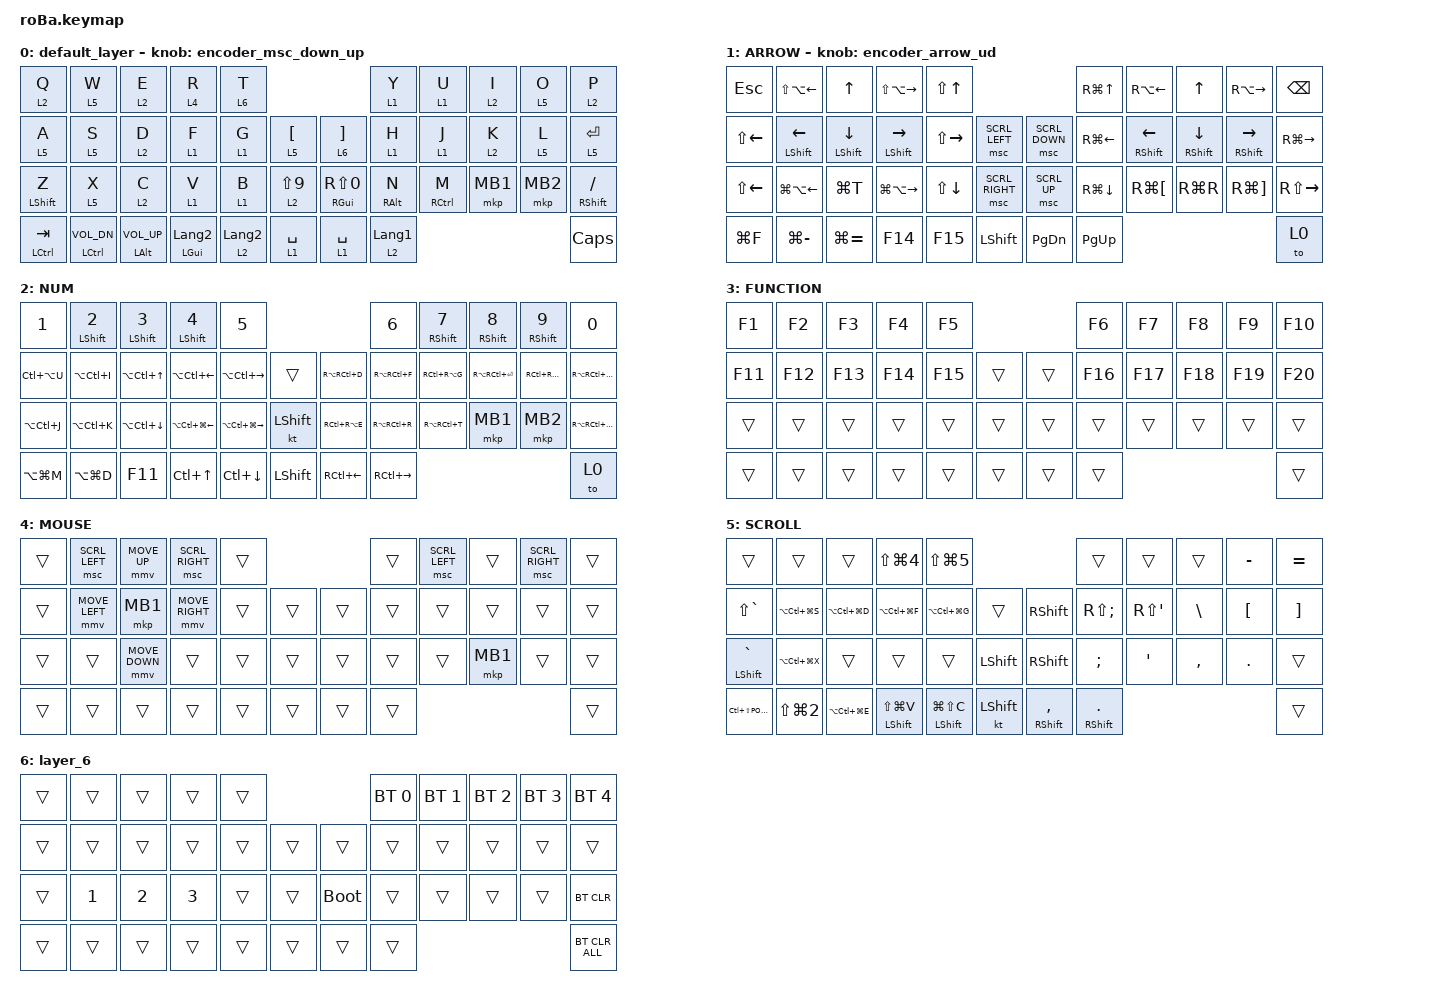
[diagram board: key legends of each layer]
#include <behaviors.dtsi>
#include <dt-bindings/zmk/bt.h>
#include <dt-bindings/zmk/keys.h>
#include <dt-bindings/zmk/pointing.h>

#undef  ZMK_POINTING_DEFAULT_SCRL_VAL

#define ZMK_POINTING_DEFAULT_SCRL_VAL 80
 
/ {
    behaviors {
        encoder_msc_down_up: encoder_msc_down_up {
            compatible = "zmk,behavior-sensor-rotate";
            #sensor-binding-cells = <0>;
            bindings = <&msc SCRL_DOWN>, <&msc SCRL_UP>;

            tap-ms = <30>;
        };

        encoder_arrow_ud: encoder_arrow_ud {
            compatible = "zmk,behavior-sensor-rotate";
            #sensor-binding-cells = <0>;
            bindings = <&kp UP_ARROW>, <&kp DOWN_ARROW>;

            tap-ms = <1>;
        };
    };

    combos {
        compatible = "zmk,combos";

        backspace {
            bindings = <&kp BACKSPACE>;
            key-positions = <9 8>;
        };

        esc {
            bindings = <&kp ESC>;
            key-positions = <0 1>;
        };

        tab {
            bindings = <&kp TAB>;
            key-positions = <10 11>;
        };
    };

    macros {
        to_layer_0: to_layer_0 {
            compatible = "zmk,behavior-macro-one-param";
            #binding-cells = <1>;
            bindings = <&to 1 &macro_param_1to1 &kp MACRO_PLACEHOLDER>;
            label = "TO_LAYER_0";
        };
    };

    keymap {
        compatible = "zmk,keymap";

        default_layer {
            bindings = <
&lt 2 Q           &lt 5 W             &lt 2 E                   &lt 4 R                  &lt 6 T                                                         &lt 1 Y           &lt 1 U      &lt 2 I   &lt 5 O   &lt 2 P
&lt 5 A           &lt 5 S             &lt 2 D                   &lt 1 F                  &lt 1 G           &lt 5 LEFT_BRACKET      &lt 6 RIGHT_BRACKET   &lt 1 H           &lt 1 J      &lt 2 K   &lt 5 L   &lt 5 ENTER
&mt LEFT_SHIFT Z  &lt 5 X             &lt 2 C                   &lt 1 V                  &lt 1 B           &lt 2 LS(N9)            &mt RIGHT_GUI RS(N0)  &mt RIGHT_ALT N   &mt RCTRL M  &mkp MB1  &mkp MB2  &mt RIGHT_SHIFT SLASH
&mt LCTRL TAB     &mt LCTRL C_VOL_DN  &mt LEFT_ALT C_VOLUME_UP  &mt LEFT_GUI LANGUAGE_2  &lt 2 LANGUAGE_2  &lt 1 SPACE             &lt 1 SPACE           &lt 2 LANGUAGE_1                                   &kp CAPSLOCK
            >;

            sensor-bindings = <&encoder_msc_down_up>;
        };

        ARROW {
            bindings = <
&kp ESCAPE          &kp LS(LA(LEFT_ARROW))     &kp UP_ARROW               &kp LS(LA(RIGHT_ARROW))     &kp LS(UP_ARROW)                                          &kp RG(UP_ARROW)    &kp RA(LEFT_ARROW)          &kp UP_ARROW                &kp RA(RIGHT_ARROW)          &kp BACKSPACE
&kp LS(LEFT_ARROW)  &mt LEFT_SHIFT LEFT_ARROW  &mt LEFT_SHIFT DOWN_ARROW  &mt LEFT_SHIFT RIGHT_ARROW  &kp LS(RIGHT_ARROW)  &msc SCRL_LEFT       &msc SCRL_DOWN  &kp RG(LEFT_ARROW)  &mt RIGHT_SHIFT LEFT_ARROW  &mt RIGHT_SHIFT DOWN_ARROW  &mt RIGHT_SHIFT RIGHT_ARROW  &kp RG(RIGHT_ARROW)
&kp LS(LEFT_ARROW)  &kp LG(LA(LEFT_ARROW))     &kp LG(T)                  &kp LG(LA(RIGHT_ARROW))     &kp LS(DOWN_ARROW)   &msc SCRL_RIGHT      &msc SCRL_UP    &kp RG(DOWN_ARROW)  &kp RG(LEFT_BRACKET)        &kp RG(R)                   &kp RG(RIGHT_BRACKET)        &kp RS(RIGHT_ARROW)
&kp LG(F)           &kp LG(MINUS)              &kp LG(EQUAL)              &kp F14                     &kp F15              &kp LSHFT            &kp PAGE_DOWN   &kp PAGE_UP                                                                                              &to 0
            >;

            sensor-bindings = <&encoder_arrow_ud>;
        };

        NUM {
            bindings = <
&kp NUMBER_1   &mt LEFT_SHIFT NUMBER_2  &mt LEFT_SHIFT NUMBER_3  &mt LEFT_SHIFT NUMBER_4     &kp N5                                                          &kp NUMBER_6         &mt RIGHT_SHIFT N7  &mt RIGHT_SHIFT N8  &mt RIGHT_SHIFT N9     &kp N0
&kp LC(LA(U))  &kp LA(LC(I))            &kp LA(LC(UP_ARROW))     &kp LA(LC(LEFT_ARROW))      &kp LA(LC(RIGHT_ARROW))      &trans         &kp RA(RC(D))       &kp RA(RC(F))        &kp RC(RA(G))       &kp RA(RC(ENTER))   &kp RC(RA(BACKSPACE))  &kp RA(RC(RG(H)))
&kp LA(LC(J))  &kp LA(LC(K))            &kp LA(LC(DOWN_ARROW))   &kp LA(LC(LG(LEFT_ARROW)))  &kp LA(LC(LG(RIGHT_ARROW)))  &kt LSHFT      &kp RC(RA(E))       &kp RA(RC(R))        &kp RA(RC(T))       &mkp MB1            &mkp MB2               &kp RA(RC(RG(R)))
&kp LA(LG(M))  &kp LA(LG(D))            &kp F11                  &kp LC(UP)                  &kp LC(DOWN_ARROW)           &kp LSHFT      &kp RC(LEFT_ARROW)  &kp RC(RIGHT_ARROW)                                                                 &to 0
            >;
        };

        FUNCTION {
            bindings = <
&kp F1   &kp F2   &kp F3   &kp F4   &kp F5                       &kp F6   &kp F7   &kp F8   &kp F9   &kp F10
&kp F11  &kp F12  &kp F13  &kp F14  &kp F15  &trans      &trans  &kp F16  &kp F17  &kp F18  &kp F19  &kp F20
&trans   &trans   &trans   &trans   &trans   &trans      &trans  &trans   &trans   &trans   &trans   &trans
&trans   &trans   &trans   &trans   &trans   &trans      &trans  &trans                              &trans
            >;
        };

        MOUSE {
            bindings = <
&trans  &msc SCRL_LEFT  &mmv MOVE_UP    &msc SCRL_RIGHT  &trans                      &trans  &msc SCRL_LEFT  &trans    &msc SCRL_RIGHT  &trans
&trans  &mmv MOVE_LEFT  &mkp MB1        &mmv MOVE_RIGHT  &trans  &trans      &trans  &trans  &trans          &trans    &trans           &trans
&trans  &trans          &mmv MOVE_DOWN  &trans           &trans  &trans      &trans  &trans  &trans          &mkp MB1  &trans           &trans
&trans  &trans          &trans          &trans           &trans  &trans      &trans  &trans                                             &trans
            >;
        };

        SCROLL {
            bindings = <
&trans                &trans                &trans             &kp LS(LG(NUMBER_4))      &kp LS(LG(N5))                                                       &trans                  &trans       &trans         &kp MINUS         &kp EQUAL
&kp LS(GRAVE)         &kp LA(LC(LG(S)))     &kp LA(LC(LG(D)))  &kp LA(LC(LG(F)))         &kp LA(LC(LG(G)))         &trans              &kp RIGHT_SHIFT        &kp RS(SEMICOLON)       &kp RS(SQT)  &kp BACKSLASH  &kp LEFT_BRACKET  &kp RIGHT_BRACKET
&mt LEFT_SHIFT GRAVE  &kp LA(LC(LG(X)))     &trans             &trans                    &trans                    &kp LEFT_SHIFT      &kp RIGHT_SHIFT        &kp SEMICOLON           &kp SQT      &kp COMMA      &kp PERIOD        &trans
&kp LC(LS(K_POWER))   &kp LS(LG(NUMBER_2))  &kp LA(LC(LG(E)))  &mt LEFT_SHIFT LS(LG(V))  &mt LEFT_SHIFT LG(LS(C))  &kt LSHFT           &mt RIGHT_SHIFT COMMA  &mt RIGHT_SHIFT PERIOD                                                &trans
            >;
        };

        layer_6 {
            bindings = <
&trans  &trans        &trans        &trans        &trans                           &bt BT_SEL 0  &bt BT_SEL 1  &bt BT_SEL 2  &bt BT_SEL 3  &bt BT_SEL 4
&trans  &trans        &trans        &trans        &trans  &trans      &trans       &trans        &trans        &trans        &trans        &trans
&trans  &kp NUMBER_1  &kp NUMBER_2  &kp NUMBER_3  &trans  &trans      &bootloader  &trans        &trans        &trans        &trans        &bt BT_CLR
&trans  &trans        &trans        &trans        &trans  &trans      &trans       &trans                                                  &bt BT_CLR_ALL
            >;
        };
    };
};

&mt {
    flavor = "balanced";
    quick-tap-ms = <0>;
};
